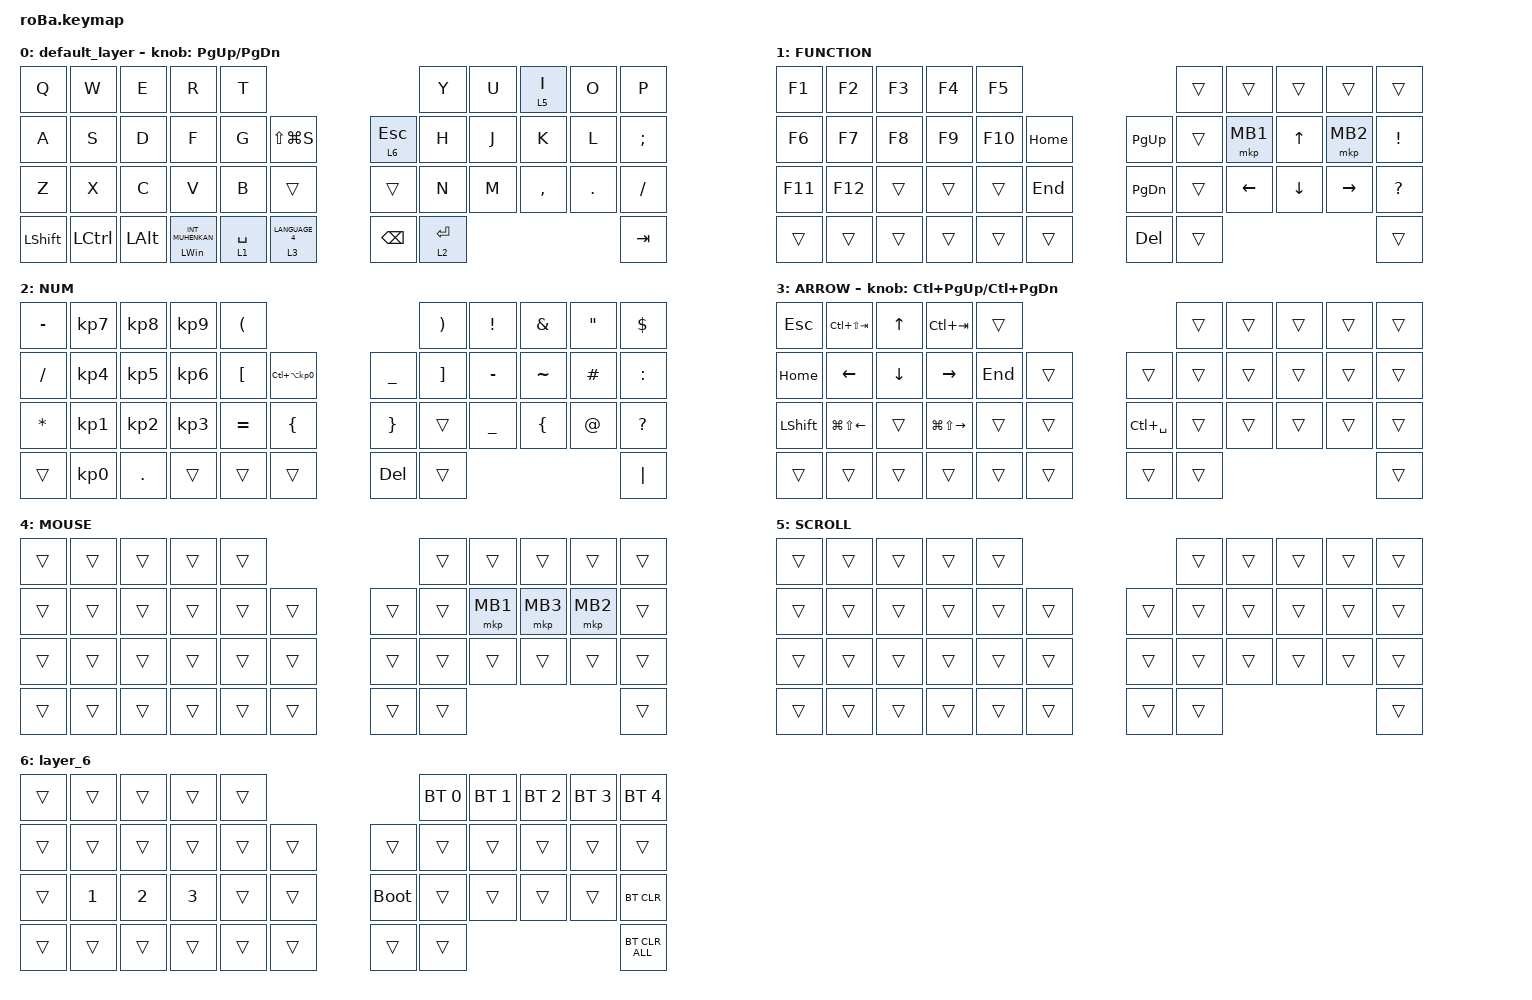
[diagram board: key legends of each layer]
#include <behaviors.dtsi>
#include <dt-bindings/zmk/bt.h>
#include <dt-bindings/zmk/keys.h>
#include <dt-bindings/zmk/pointing.h>

&mt {
    flavor = "balanced";
    quick-tap-ms = <0>;
};

&trackball {
    automouse-layer = <4>;
    scroll-layers = <5>;

    // arrows {
    //     layers = <3>;
    //     bindings =
    //         <&kp RIGHT_ARROW>,
    //         <&kp LEFT_ARROW>,
    //         <&kp UP_ARROW>,
    //         <&kp DOWN_ARROW>;
    //     tick = <10>;
    //     wait-ms = <5>;
    //     tap-ms = <5>;
    // };
};

/ {
    combos { compatible = "zmk,combos"; };

    macros {
        to_layer_0: to_layer_0 {
            compatible = "zmk,behavior-macro-one-param";
            #binding-cells = <1>;
            bindings = <&to 0 &macro_param_1to1 &kp MACRO_PLACEHOLDER>;
            label = "TO_LAYER_0";
        };
    };

    behaviors {
        lt_to_layer_0: lt_to_layer_0 {
            compatible = "zmk,behavior-hold-tap";
            label = "LAYER_TAP_TO_0";
            bindings = <&mo>, <&to_layer_0>;

            #binding-cells = <2>;
            tapping-term-ms = <200>;
        };
    };

    keymap {
        compatible = "zmk,keymap";

        default_layer {
            bindings = <
&kp Q           &kp W      &kp E         &kp R                      &kp T                                                        &kp Y        &kp U  &lt 5 I    &kp O    &kp P
&kp A           &kp S      &kp D         &kp F                      &kp G        &kp LS(LG(S))                    &lt 6 ESC      &kp H        &kp J  &kp K      &kp L    &kp SEMICOLON
&kp Z           &kp X      &kp C         &kp V                      &kp B        &trans                           &trans         &kp N        &kp M  &kp COMMA  &kp DOT  &kp SLASH
&kp LEFT_SHIFT  &kp LCTRL  &kp LEFT_ALT  &mt LEFT_WIN INT_MUHENKAN  &lt 1 SPACE  &lt_to_layer_0 3 LANGUAGE_4      &kp BACKSPACE  &lt 2 ENTER                             &kp TAB
            >;

            sensor-bindings = <&inc_dec_kp PG_UP PAGE_DOWN>;
        };

        FUNCTION {
            bindings = <
&kp F1   &kp F2   &kp F3  &kp F4  &kp F5                                &trans  &trans    &trans    &trans     &trans
&kp F6   &kp F7   &kp F8  &kp F9  &kp F10  &kp HOME      &kp PAGE_UP    &trans  &mkp MB1  &kp UP    &mkp MB2   &kp EXCLAMATION
&kp F11  &kp F12  &trans  &trans  &trans   &kp END       &kp PAGE_DOWN  &trans  &kp LEFT  &kp DOWN  &kp RIGHT  &kp QUESTION
&trans   &trans   &trans  &trans  &trans   &trans        &kp DEL        &trans                                 &trans
            >;
        };

        NUM {
            bindings = <
&kp MINUS  &kp KP_NUMBER_7  &kp KP_NUMBER_8  &kp KP_NUMBER_9  &kp LEFT_PARENTHESIS                                                &kp RIGHT_PARENTHESIS  &kp EXCL        &kp AMPERSAND   &kp DOUBLE_QUOTES  &kp DOLLAR
&kp SLASH  &kp KP_NUMBER_4  &kp KP_NUMBER_5  &kp KP_NUMBER_6  &kp LEFT_BRACKET      &kp LC(LA(KP_NUMBER_0))      &kp UNDERSCORE   &kp RIGHT_BRACKET      &kp MINUS       &kp TILDE       &kp HASH           &kp COLON
&kp ASTRK  &kp KP_NUMBER_1  &kp KP_NUMBER_2  &kp KP_NUMBER_3  &kp EQUAL             &kp LEFT_BRACE               &kp RIGHT_BRACE  &trans                 &kp UNDERSCORE  &kp LEFT_BRACE  &kp AT_SIGN        &kp QUESTION
&trans     &kp KP_NUMBER_0  &kp PERIOD       &trans           &trans                &trans                       &kp DEL          &trans                                                                    &kp PIPE
            >;
        };

        ARROW {
            bindings = <
&kp ESCAPE      &kp LC(LS(TAB))         &kp UP_ARROW    &kp LC(TAB)              &trans                              &trans  &trans  &trans  &trans  &trans
&kp HOME        &kp LEFT_ARROW          &kp DOWN_ARROW  &kp RIGHT_ARROW          &kp END  &trans      &trans         &trans  &trans  &trans  &trans  &trans
&kp LEFT_SHIFT  &kp LG(LS(LEFT_ARROW))  &trans          &kp LG(LS(RIGHT_ARROW))  &trans   &trans      &kp LC(SPACE)  &trans  &trans  &trans  &trans  &trans
&trans          &trans                  &trans          &trans                   &trans   &trans      &trans         &trans                          &trans
            >;

            sensor-bindings = <&inc_dec_kp LC(PAGE_UP) LC(PAGE_DOWN)>;
        };

        MOUSE {
            bindings = <
&trans  &trans  &trans  &trans  &trans                      &trans  &trans    &trans    &trans    &trans
&trans  &trans  &trans  &trans  &trans  &trans      &trans  &trans  &mkp MB1  &mkp MB3  &mkp MB2  &trans
&trans  &trans  &trans  &trans  &trans  &trans      &trans  &trans  &trans    &trans    &trans    &trans
&trans  &trans  &trans  &trans  &trans  &trans      &trans  &trans                                &trans
            >;
        };

        SCROLL {
            bindings = <
&trans  &trans  &trans  &trans  &trans                      &trans  &trans  &trans  &trans  &trans
&trans  &trans  &trans  &trans  &trans  &trans      &trans  &trans  &trans  &trans  &trans  &trans
&trans  &trans  &trans  &trans  &trans  &trans      &trans  &trans  &trans  &trans  &trans  &trans
&trans  &trans  &trans  &trans  &trans  &trans      &trans  &trans                          &trans
            >;
        };

        layer_6 {
            bindings = <
&trans  &trans        &trans        &trans        &trans                           &bt BT_SEL 0  &bt BT_SEL 1  &bt BT_SEL 2  &bt BT_SEL 3  &bt BT_SEL 4
&trans  &trans        &trans        &trans        &trans  &trans      &trans       &trans        &trans        &trans        &trans        &trans
&trans  &kp NUMBER_1  &kp NUMBER_2  &kp NUMBER_3  &trans  &trans      &bootloader  &trans        &trans        &trans        &trans        &bt BT_CLR
&trans  &trans        &trans        &trans        &trans  &trans      &trans       &trans                                                  &bt BT_CLR_ALL
            >;
        };
    };

    conditional_layers {
        compatible = "zmk,conditional-layers";

        scroll {
            if-layers = <3>;
            then-layer = <5>;
        };
    };
};
